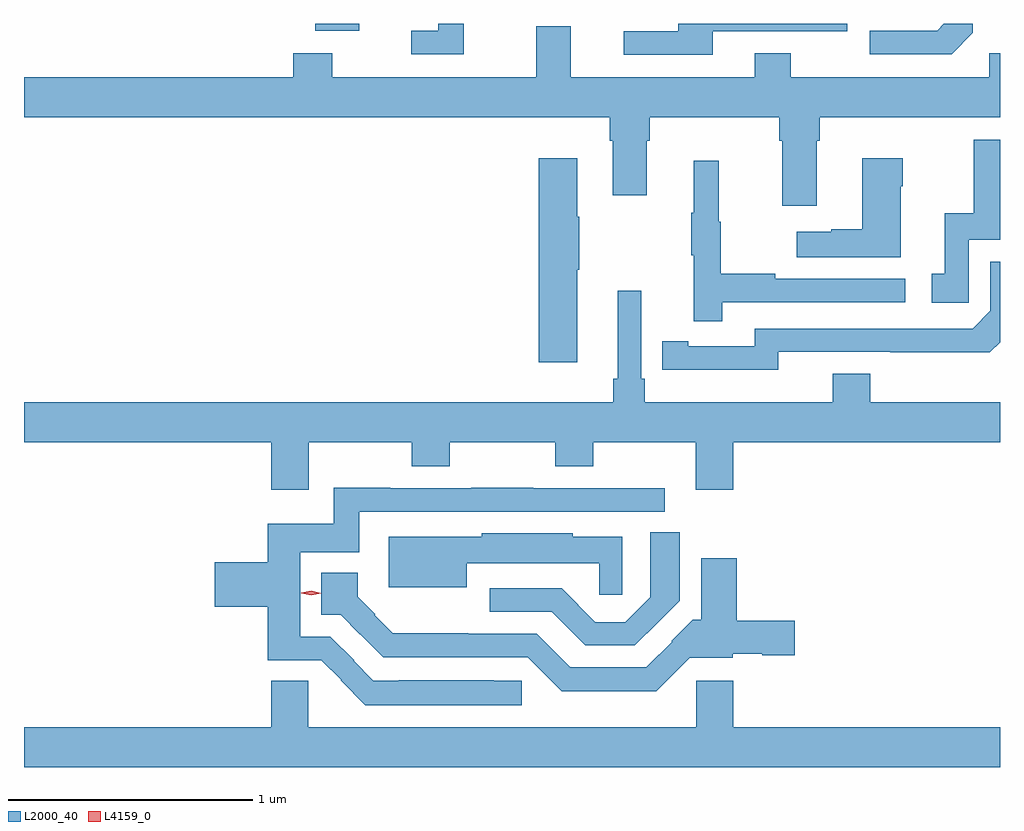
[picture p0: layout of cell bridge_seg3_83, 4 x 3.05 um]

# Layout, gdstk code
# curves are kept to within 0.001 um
import gdstk
lib = gdstk.Library(unit=1e-6, precision=1e-09)
def R(c, l, rs):  # rectangles x0, y0, x1, y1
    for r in rs: c.add(gdstk.rectangle(r[:2], r[2:], *l))
def P(c, l, *ps):  # polygons
    for p in ps: c.add(gdstk.Polygon(p, *l))
L2000_40 = (2000, 40)
L4159_0 = (4159, 0)

bridge_seg3_83 = lib.new_cell('bridge_seg3_83')
R(bridge_seg3_83, L2000_40, [(431.723,697.274,431.902,697.303)])
P(bridge_seg3_83, L2000_40, [(434.418,697.266),(434.418,697.303),(434.299,697.303),(434.271,697.275),(433.995,697.275),(433.995,697.179),(434.331,697.179)],
  [(433.351,697.272),(433.902,697.272),(433.902,697.303),(433.211,697.303),(433.211,697.272),(432.987,697.272),(432.987,697.176),(433.351,697.176)],
  [(432.331,697.303),(432.227,697.303),(432.227,697.275),(432.117,697.275),(432.117,697.179),(432.331,697.179)],
  [(433.777,696.824),(433.79,696.824),(433.79,696.92),(434.529,696.92),(434.529,697.183),(434.484,697.183),(434.484,697.084),(433.671,697.084),(433.671,697.183),(433.523,697.183),(433.523,697.084),(432.769,697.084),(432.769,697.292),(432.629,697.292),(432.629,697.084),(431.793,697.084),(431.793,697.183),(431.633,697.183),(431.633,697.084),(430.529,697.084),(430.529,696.92),(432.929,696.92),(432.929,696.824),(432.941,696.824),(432.941,696.6),(433.081,696.6),(433.081,696.824),(433.094,696.824),(433.094,696.92),(433.625,696.92),(433.625,696.824),(433.637,696.824),(433.637,696.558),(433.777,696.558)],
  [(434.4,696.417),(434.529,696.417),(434.529,696.828),(434.421,696.828),(434.421,696.526),(434.303,696.526),(434.303,696.279),(434.25,696.279),(434.25,696.159),(434.4,696.159)],
  [(432.796,696.295),(432.804,696.295),(432.804,696.512),(432.796,696.512),(432.796,696.751),(432.638,696.751),(432.638,695.916),(432.796,695.916)],
  [(434.122,696.638),(434.13,696.638),(434.13,696.751),(433.964,696.751),(433.964,696.461),(433.838,696.461),(433.838,696.451),(433.695,696.451),(433.695,696.347),(434.122,696.347)],
  [(433.391,696.162),(434.14,696.162),(434.14,696.258),(433.607,696.258),(433.607,696.278),(433.384,696.278),(433.384,696.492),(433.376,696.492),(433.376,696.742),(433.274,696.742),(433.274,696.529),(433.263,696.529),(433.263,696.355),(433.274,696.355),(433.274,696.084),(433.391,696.084)],
  [(433.62,695.958),(434.488,695.957),(434.529,695.998),(434.529,696.327),(434.49,696.327),(434.49,696.126),(434.418,696.054),(433.524,696.054),(433.524,695.982),(433.252,695.982),(433.252,696.002),(433.144,696.002),(433.144,695.886),(433.62,695.885)],
  [(431.695,695.588),(432.118,695.588),(432.118,695.489),(432.273,695.489),(432.273,695.588),(432.706,695.588),(432.706,695.489),(432.861,695.489),(432.861,695.588),(433.283,695.588),(433.283,695.394),(433.436,695.394),(433.436,695.588),(434.529,695.588),(434.529,695.752),(433.997,695.752),(433.997,695.869),(433.844,695.869),(433.844,695.752),(433.073,695.752),(433.073,695.848),(433.059,695.848),(433.059,696.208),(432.962,696.208),(432.962,695.848),(432.943,695.848),(432.943,695.752),(430.529,695.752),(430.529,695.588),(431.543,695.588),(431.543,695.394),(431.695,695.394)],
  [(432.568,694.611),(431.961,694.611),(431.88,694.692),(431.882,694.694),(431.785,694.791),(431.662,694.791),(431.662,695.138),(431.902,695.138),(431.902,695.304),(433.156,695.304),(433.156,695.4),(432.617,695.4),(432.617,695.402),(432.361,695.402),(432.361,695.4),(432.029,695.4),(432.029,695.402),(431.798,695.402),(431.798,695.254),(431.528,695.254),(431.528,695.096),(431.31,695.096),(431.31,694.913),(431.528,694.913),(431.528,694.695),(431.748,694.695),(431.829,694.614),(431.827,694.612),(431.928,694.511),(432.568,694.511)],
  [(433.129,694.851),(433.216,694.939),(433.216,695.219),(433.095,695.219),(433.095,694.953),(432.993,694.851),(432.87,694.851),(432.732,694.989),(432.438,694.989),(432.438,694.893),(432.692,694.893),(432.83,694.755),(433.033,694.755)],
  [(432.98,695.2),(432.777,695.2),(432.777,695.215),(432.405,695.215),(432.405,695.2),(432.024,695.2),(432.024,694.994),(432.343,694.994),(432.343,695.093),(432.886,695.093),(432.886,694.962),(432.98,694.962)],
  [(433.257,694.704),(433.434,694.704),(433.434,694.721),(433.554,694.721),(433.554,694.714),(433.687,694.714),(433.687,694.856),(433.451,694.856),(433.451,695.113),(433.304,695.113),(433.304,694.861),(433.27,694.861),(433.182,694.773),(433.185,694.77),(433.08,694.665),(432.768,694.665),(432.63,694.803),(432.35,694.803),(432.35,694.805),(432.041,694.805),(431.966,694.879),(431.969,694.882),(431.896,694.955),(431.896,695.053),(431.747,695.053),(431.747,694.88),(431.827,694.88),(432.002,694.707),(432.594,694.707),(432.733,694.568),(433.121,694.568)],
  [(434.529,694.42),(433.436,694.42),(433.436,694.611),(433.285,694.611),(433.285,694.42),(431.694,694.42),(431.694,694.61),(431.543,694.61),(431.543,694.42),(430.529,694.42),(430.529,694.256),(434.529,694.256)])
P(bridge_seg3_83, L4159_0, [(431.706,694.96),(431.665,694.97),(431.665,694.97),(431.665,694.971),(431.706,694.98),(431.747,694.97),(431.747,694.97),(431.747,694.97)])

lib.write_gds('bridge_seg3_83.gds')
